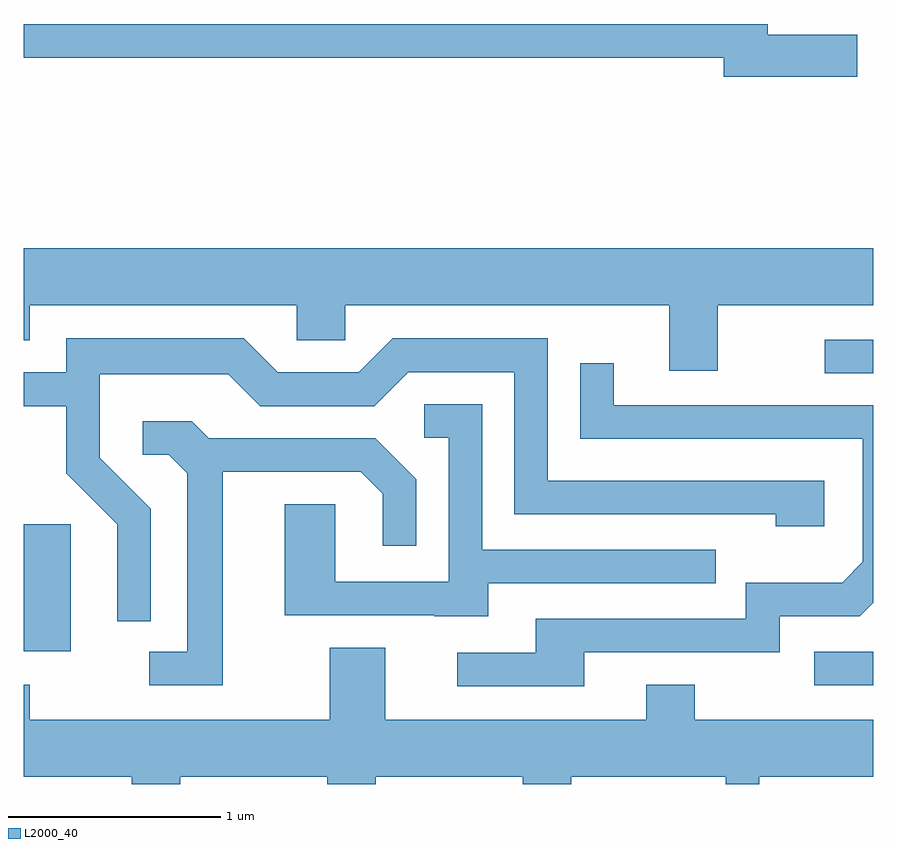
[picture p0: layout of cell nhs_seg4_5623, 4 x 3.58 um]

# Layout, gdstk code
import gdstk
lib = gdstk.Library(unit=1e-6, precision=1e-09)
def R(c, l, rs):  # rectangles x0, y0, x1, y1
    for r in rs: c.add(gdstk.rectangle(r[:2], r[2:], *l))
def P(c, l, *ps):  # polygons
    for p in ps: c.add(gdstk.Polygon(p, *l))
L2000_40 = (2000, 40)

nhs_seg4_5623 = lib.new_cell('nhs_seg4_5623')
R(nhs_seg4_5623, L2000_40, [(353.333,1348.446,353.611,1348.604), (349.611,1348.606,349.834,1349.204), (353.383,1349.916,353.611,1350.074)])
P(nhs_seg4_5623, L2000_40, [(353.534,1351.509),(353.114,1351.509),(353.114,1351.559),(349.611,1351.559),(349.611,1351.401),(352.906,1351.401),(352.906,1351.311),(353.534,1351.311)],
  [(352.879,1350.236),(353.611,1350.236),(353.611,1350.504),(349.611,1350.504),(349.611,1350.071),(349.639,1350.071),(349.639,1350.236),(350.896,1350.236),(350.896,1350.071),(351.124,1350.071),(351.124,1350.236),(352.651,1350.236),(352.651,1349.926),(352.879,1349.926)],
  [(350.209,1349.277),(349.969,1349.517),(349.969,1349.911),(350.574,1349.911),(350.724,1349.761),(351.262,1349.761),(351.422,1349.921),(351.921,1349.921),(351.921,1349.251),(353.151,1349.251),(353.151,1349.196),(353.379,1349.196),(353.379,1349.409),(352.079,1349.409),(352.079,1350.079),(351.349,1350.079),(351.189,1349.919),(350.807,1349.919),(350.647,1350.079),(349.811,1350.079),(349.811,1349.919),(349.611,1349.919),(349.611,1349.761),(349.811,1349.761),(349.811,1349.444),(350.051,1349.204),(350.051,1348.748),(350.209,1348.748)],
  [(352.249,1348.601),(353.169,1348.601),(353.169,1348.771),(353.547,1348.771),(353.611,1348.835),(353.611,1349.764),(352.389,1349.764),(352.389,1349.963),(352.231,1349.963),(352.231,1349.606),(353.561,1349.606),(353.561,1349.027),(353.464,1348.929),(353.011,1348.929),(353.011,1348.759),(352.021,1348.759),(352.021,1348.599),(351.653,1348.599),(351.653,1348.441),(352.249,1348.441)],
  [(351.799,1348.926),(352.868,1348.926),(352.868,1349.084),(351.769,1349.084),(351.769,1349.769),(351.498,1349.769),(351.498,1349.611),(351.611,1349.611),(351.611,1348.934),(351.079,1348.934),(351.079,1349.299),(350.841,1349.299),(350.841,1348.776),(351.545,1348.776),(351.545,1348.771),(351.799,1348.771)],
  [(350.549,1349.451),(351.199,1349.451),(351.301,1349.349),(351.301,1349.103),(351.459,1349.103),(351.459,1349.417),(351.267,1349.609),(350.482,1349.609),(350.402,1349.689),(350.173,1349.689),(350.173,1349.531),(350.294,1349.531),(350.381,1349.444),(350.381,1348.604),(350.203,1348.604),(350.203,1348.446),(350.549,1348.446)],
  [(350.349,1348.016),(351.041,1348.016),(351.041,1347.982),(351.269,1347.982),(351.269,1348.016),(351.961,1348.016),(351.961,1347.982),(352.189,1347.982),(352.189,1348.016),(352.916,1348.016),(352.916,1347.982),(353.074,1347.982),(353.074,1348.016),(353.611,1348.016),(353.611,1348.284),(352.769,1348.284),(352.769,1348.449),(352.541,1348.449),(352.541,1348.284),(351.314,1348.284),(351.314,1348.624),(351.051,1348.624),(351.051,1348.284),(349.639,1348.284),(349.639,1348.449),(349.611,1348.449),(349.611,1348.016),(350.121,1348.016),(350.121,1347.982),(350.349,1347.982)])

lib.write_gds('nhs_seg4_5623.gds')
